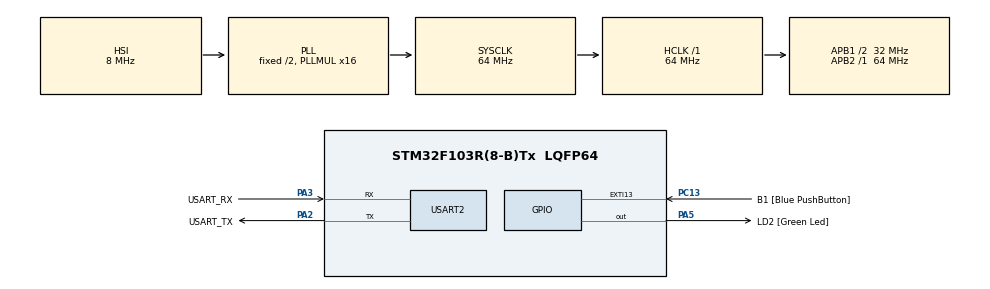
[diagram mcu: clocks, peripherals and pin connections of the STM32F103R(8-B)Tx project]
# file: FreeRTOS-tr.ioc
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Mcu.Family=STM32F1
PC15-OSC32_OUT.Mode=LSE-External-Oscillator
PA2.GPIO_PuPd=GPIO_NOPULL
FREERTOS.Tasks01=ProducerTask,23,256,StartProducerTask,Default,NULL,Dynamic,NULL,NULL;CostumerTask,25,256,StartCostumerTask,Default,NULL,Dynamic,NULL,NULL
FREERTOS.BinarySemaphores01=BinarySem01,Dynamic,NULL;IRQSemaphore,Dynamic,NULL
PD1-OSC_OUT.Mode=HSE-External-Clock-Source
PA14.GPIO_Label=TCK
PA3.GPIO_PuPd=GPIO_NOPULL
PA2.GPIO_Speed=GPIO_SPEED_FREQ_LOW
PC13-TAMPER-RTC.Signal=GPXTI13
PD0-OSC_IN.Signal=RCC_OSC_IN
RCC.APB1CLKDivider=RCC_HCLK_DIV2
PC14-OSC32_IN.Signal=RCC_OSC32_IN
PA3.GPIO_Speed=GPIO_SPEED_FREQ_LOW
RCC.SYSCLKSource=RCC_SYSCLKSOURCE_PLLCLK
ProjectManager.StackSize=0x400
VP_FREERTOS_VS_CMSIS_V2.Mode=CMSIS_V2
PD1-OSC_OUT.Signal=RCC_OSC_OUT
PA3.Mode=Asynchronous
PA13.Signal=SYS_JTMS-SWDIO
ProjectManager.TargetToolchain=STM32CubeIDE
PA3.GPIO_Mode=GPIO_MODE_AF_PP
RCC.HCLKFreq_Value=64000000
RCC.APB2TimFreq_Value=64000000
RCC.USBFreq_Value=64000000
PC15-OSC32_OUT.Signal=RCC_OSC32_OUT
RCC.AHBFreq_Value=64000000
PD0-OSC_IN.Mode=HSE-External-Clock-Source
NVIC.EXTI15_10_IRQn=true\:5\:0\:false\:false\:true\:true\:true\:true
PA5.Signal=GPIO_Output
board=NUCLEO-F103RB
RCC.RTCClockSelection=RCC_RTCCLKSOURCE_LSE
PC13-TAMPER-RTC.GPIO_Label=B1 [Blue PushButton]
RCC.PLLMUL=RCC_PLL_MUL16
RCC.APB2Freq_Value=64000000
PC14-OSC32_IN.Mode=LSE-External-Oscillator
PA5.GPIO_ModeDefaultOutputPP=GPIO_MODE_OUTPUT_PP
PA14.Mode=Serial_Wire
PA5.GPIO_PuPd=GPIO_NOPULL
PA13.Mode=Serial_Wire
Mcu.Name=STM32F103R(8-B)Tx
FREERTOS.configTOTAL_HEAP_SIZE=5000
PA2.Signal=USART2_TX
PA13.GPIO_Label=TMS
PB3.Signal=SYS_JTDO-TRACESWO
RCC.SYSCLKFreq_VALUE=64000000
Mcu.Package=LQFP64
NVIC.TimeBase=TIM4_IRQn
PA5.GPIO_Label=LD2 [Green Led]
USART2.VirtualMode=VM_ASYNC
PC13-TAMPER-RTC.GPIO_PuPd=GPIO_NOPULL
PA2.GPIO_Label=USART_TX
NVIC.TimeBaseIP=TIM4
PA14.Signal=SYS_JTCK-SWCLK
ProjectManager.HeapSize=0x200
VP_SYS_VS_tim4.Mode=TIM4
PA5.GPIO_Speed=GPIO_SPEED_FREQ_LOW
NVIC.PriorityGroup=NVIC_PRIORITYGROUP_4
RCC.APB1TimFreq_Value=64000000
PA2.Mode=Asynchronous
NVIC.TIM4_IRQn=true\:0\:0\:false\:false\:true\:false\:false\:true
RCC.APB1Freq_Value=32000000
PA3.GPIO_Label=USART_RX
PA3.Signal=USART2_RX
PA2.GPIO_Mode=GPIO_MODE_AF_PP
PB3.GPIO_Label=SWO

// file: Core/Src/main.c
/* USER CODE BEGIN Header */
/**
  ******************************************************************************
  * @file           : main.c
  * @brief          : Main program body
  ******************************************************************************
  * @attention
  *
  * <h2><center>&copy; Copyright (c) 2021 STMicroelectronics.
  * All rights reserved.</center></h2>
  *
  * This software component is licensed by ST under BSD 3-Clause license,
  * the "License"; You may not use this file except in compliance with the
  * License. You may obtain a copy of the License at:
  *                        opensource.org/licenses/BSD-3-Clause
  *
  ******************************************************************************
  */
/* USER CODE END Header */
#include "main.h"
#include "cmsis_os.h"
#include "usart.h"
#include "gpio.h"

void SystemClock_Config(void);
void MX_FREERTOS_Init(void);

int main(void)
{

  /* MCU Configuration--------------------------------------------------------*/

  /* Reset of all peripherals, Initializes the Flash interface and the Systick. */
  HAL_Init();

  /* Configure the system clock */
  SystemClock_Config();

  /* Initialize all configured peripherals */
  MX_GPIO_Init();
  MX_USART2_UART_Init();

  /* Init scheduler */
  osKernelInitialize();  /* Call init function for freertos objects (in freertos.c) */
  MX_FREERTOS_Init();
  /* Start scheduler */
  osKernelStart();

  /* We should never get here as control is now taken by the scheduler */
  /* Infinite loop */
  while (1)
  {

  }
}

void SystemClock_Config(void)
{
  RCC_OscInitTypeDef RCC_OscInitStruct = {0};
  RCC_ClkInitTypeDef RCC_ClkInitStruct = {0};

  /** Initializes the RCC Oscillators according to the specified parameters
  * in the RCC_OscInitTypeDef structure.
  */
  RCC_OscInitStruct.OscillatorType = RCC_OSCILLATORTYPE_HSI;
  RCC_OscInitStruct.HSIState = RCC_HSI_ON;
  RCC_OscInitStruct.HSICalibrationValue = RCC_HSICALIBRATION_DEFAULT;
  RCC_OscInitStruct.PLL.PLLState = RCC_PLL_ON;
  RCC_OscInitStruct.PLL.PLLSource = RCC_PLLSOURCE_HSI_DIV2;
  RCC_OscInitStruct.PLL.PLLMUL = RCC_PLL_MUL16;
  if (HAL_RCC_OscConfig(&RCC_OscInitStruct) != HAL_OK)
  {
    Error_Handler();
  }
  /** Initializes the CPU, AHB and APB buses clocks
  */
  RCC_ClkInitStruct.ClockType = RCC_CLOCKTYPE_HCLK|RCC_CLOCKTYPE_SYSCLK
                              |RCC_CLOCKTYPE_PCLK1|RCC_CLOCKTYPE_PCLK2;
  RCC_ClkInitStruct.SYSCLKSource = RCC_SYSCLKSOURCE_PLLCLK;
  RCC_ClkInitStruct.AHBCLKDivider = RCC_SYSCLK_DIV1;
  RCC_ClkInitStruct.APB1CLKDivider = RCC_HCLK_DIV2;
  RCC_ClkInitStruct.APB2CLKDivider = RCC_HCLK_DIV1;

  if (HAL_RCC_ClockConfig(&RCC_ClkInitStruct, FLASH_LATENCY_2) != HAL_OK)
  {
    Error_Handler();
  }
}

 /**
  * @brief  Period elapsed callback in non blocking mode
  * @note   This function is called  when TIM4 interrupt took place, inside
  * HAL_TIM_IRQHandler(). It makes a direct call to HAL_IncTick() to increment
  * a global variable "uwTick" used as application time base.
  * @param  htim : TIM handle
  * @retval None
  */
void HAL_TIM_PeriodElapsedCallback(TIM_HandleTypeDef *htim)
{
  if (htim->Instance == TIM4) {
    HAL_IncTick();
  }
}

void Error_Handler(void)
{
  __disable_irq();
  while (1)
  {
  }
}

/************************ (C) COPYRIGHT STMicroelectronics *****END OF FILE****/

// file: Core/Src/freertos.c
/* USER CODE BEGIN Header */
/**
  ******************************************************************************
  * File Name          : freertos.c
  * Description        : Code for freertos applications
  ******************************************************************************
  * @attention
  *
  * <h2><center>&copy; Copyright (c) 2021 STMicroelectronics.
  * All rights reserved.</center></h2>
  *
  * This software component is licensed by ST under Ultimate Liberty license
  * SLA0044, the "License"; You may not use this file except in compliance with
  * the License. You may obtain a copy of the License at:
  *                             www.st.com/SLA0044
  *
  ******************************************************************************
  */
/* USER CODE END Header */

#include "FreeRTOS.h"
#include "task.h"
#include "main.h"
#include "cmsis_os.h"

/* USER CODE BEGIN Includes */
#include "usart.h"
#include "printf.h"
/* USER CODE END Includes */

/* USER CODE BEGIN Variables */
typedef struct
{
	uint32_t Value;
	uint32_t Sender;
}Message_t;
/* USER CODE END Variables */
/* Definitions for ProducerTask */
osThreadId_t ProducerTaskHandle;
const osThreadAttr_t ProducerTask_attributes = {
  .name = "ProducerTask",
  .stack_size = 256 * 4,
  .priority = (osPriority_t) osPriorityBelowNormal7,
};
/* Definitions for CostumerTask */
osThreadId_t CostumerTaskHandle;
const osThreadAttr_t CostumerTask_attributes = {
  .name = "CostumerTask",
  .stack_size = 256 * 4,
  .priority = (osPriority_t) osPriorityNormal1,
};
/* Definitions for BinarySem01 */
osSemaphoreId_t BinarySem01Handle;
const osSemaphoreAttr_t BinarySem01_attributes = {
  .name = "BinarySem01"
};
/* Definitions for IRQSemaphore */
osSemaphoreId_t IRQSemaphoreHandle;
const osSemaphoreAttr_t IRQSemaphore_attributes = {
  .name = "IRQSemaphore"
};

void StartProducerTask(void *argument);
void StartCostumerTask(void *argument);

void MX_FREERTOS_Init(void); /* (MISRA C 2004 rule 8.1) */

void MX_FREERTOS_Init(void) {

  /* Create the semaphores(s) */
  /* creation of BinarySem01 */
  BinarySem01Handle = osSemaphoreNew(1, 1, &BinarySem01_attributes);

  /* creation of IRQSemaphore */
  IRQSemaphoreHandle = osSemaphoreNew(1, 1, &IRQSemaphore_attributes);

  /* Create the thread(s) */
  /* creation of ProducerTask */
  ProducerTaskHandle = osThreadNew(StartProducerTask, NULL, &ProducerTask_attributes);

  /* creation of CostumerTask */
  CostumerTaskHandle = osThreadNew(StartCostumerTask, NULL, &CostumerTask_attributes);

}

void StartProducerTask(void *argument)
{
  /* USER CODE BEGIN StartProducerTask */

  /* Infinite loop */
  for(;;)
  {
	  printf("In Task Producer\n\r");

	  printf("Wait for semaphore\n\r");
	 if(osOK== osSemaphoreAcquire(BinarySem01Handle, osWaitForever))
	 {
		 printf("Semaphore Producer Taken\n\r");
	 }
		  printf("Producer Task Exit\n\r");
	  	 // osDelay(1000);
  }
  /* USER CODE END StartProducerTask */
}

void StartCostumerTask(void *argument)
{
  /* USER CODE BEGIN StartCostumerTask */
  /* Infinite loop */
  for(;;)
  {
	  printf("Enter Cost Task\n\r");

	/*  if(osOK == osSemaphoreRelease(BinarySem01Handle))
	  {
		  printf("BinSem01 Release\n\r");
	  }*/
	  printf("Exit Cost Task\n\r");

     osDelay(1000);
  }
  /* USER CODE END StartCostumerTask */
}

/* USER CODE BEGIN Application */
void _putchar(char character)
{
	//osSemaphoreAcquire(PrintSemaphoreHandle, osWaitForever);
	HAL_UART_Transmit(&huart2, (uint8_t*)&character, 1, 100);
	//osSemaphoreRelease(PrintSemaphoreHandle);
}

void HAL_GPIO_EXTI_Callback(uint16_t GPIO_Pin)
{

	if(B1_Pin==GPIO_Pin)
	{
		osSemaphoreRelease(BinarySem01Handle);
	}
}

/* USER CODE END Application */

/************************ (C) COPYRIGHT STMicroelectronics *****END OF FILE****/
